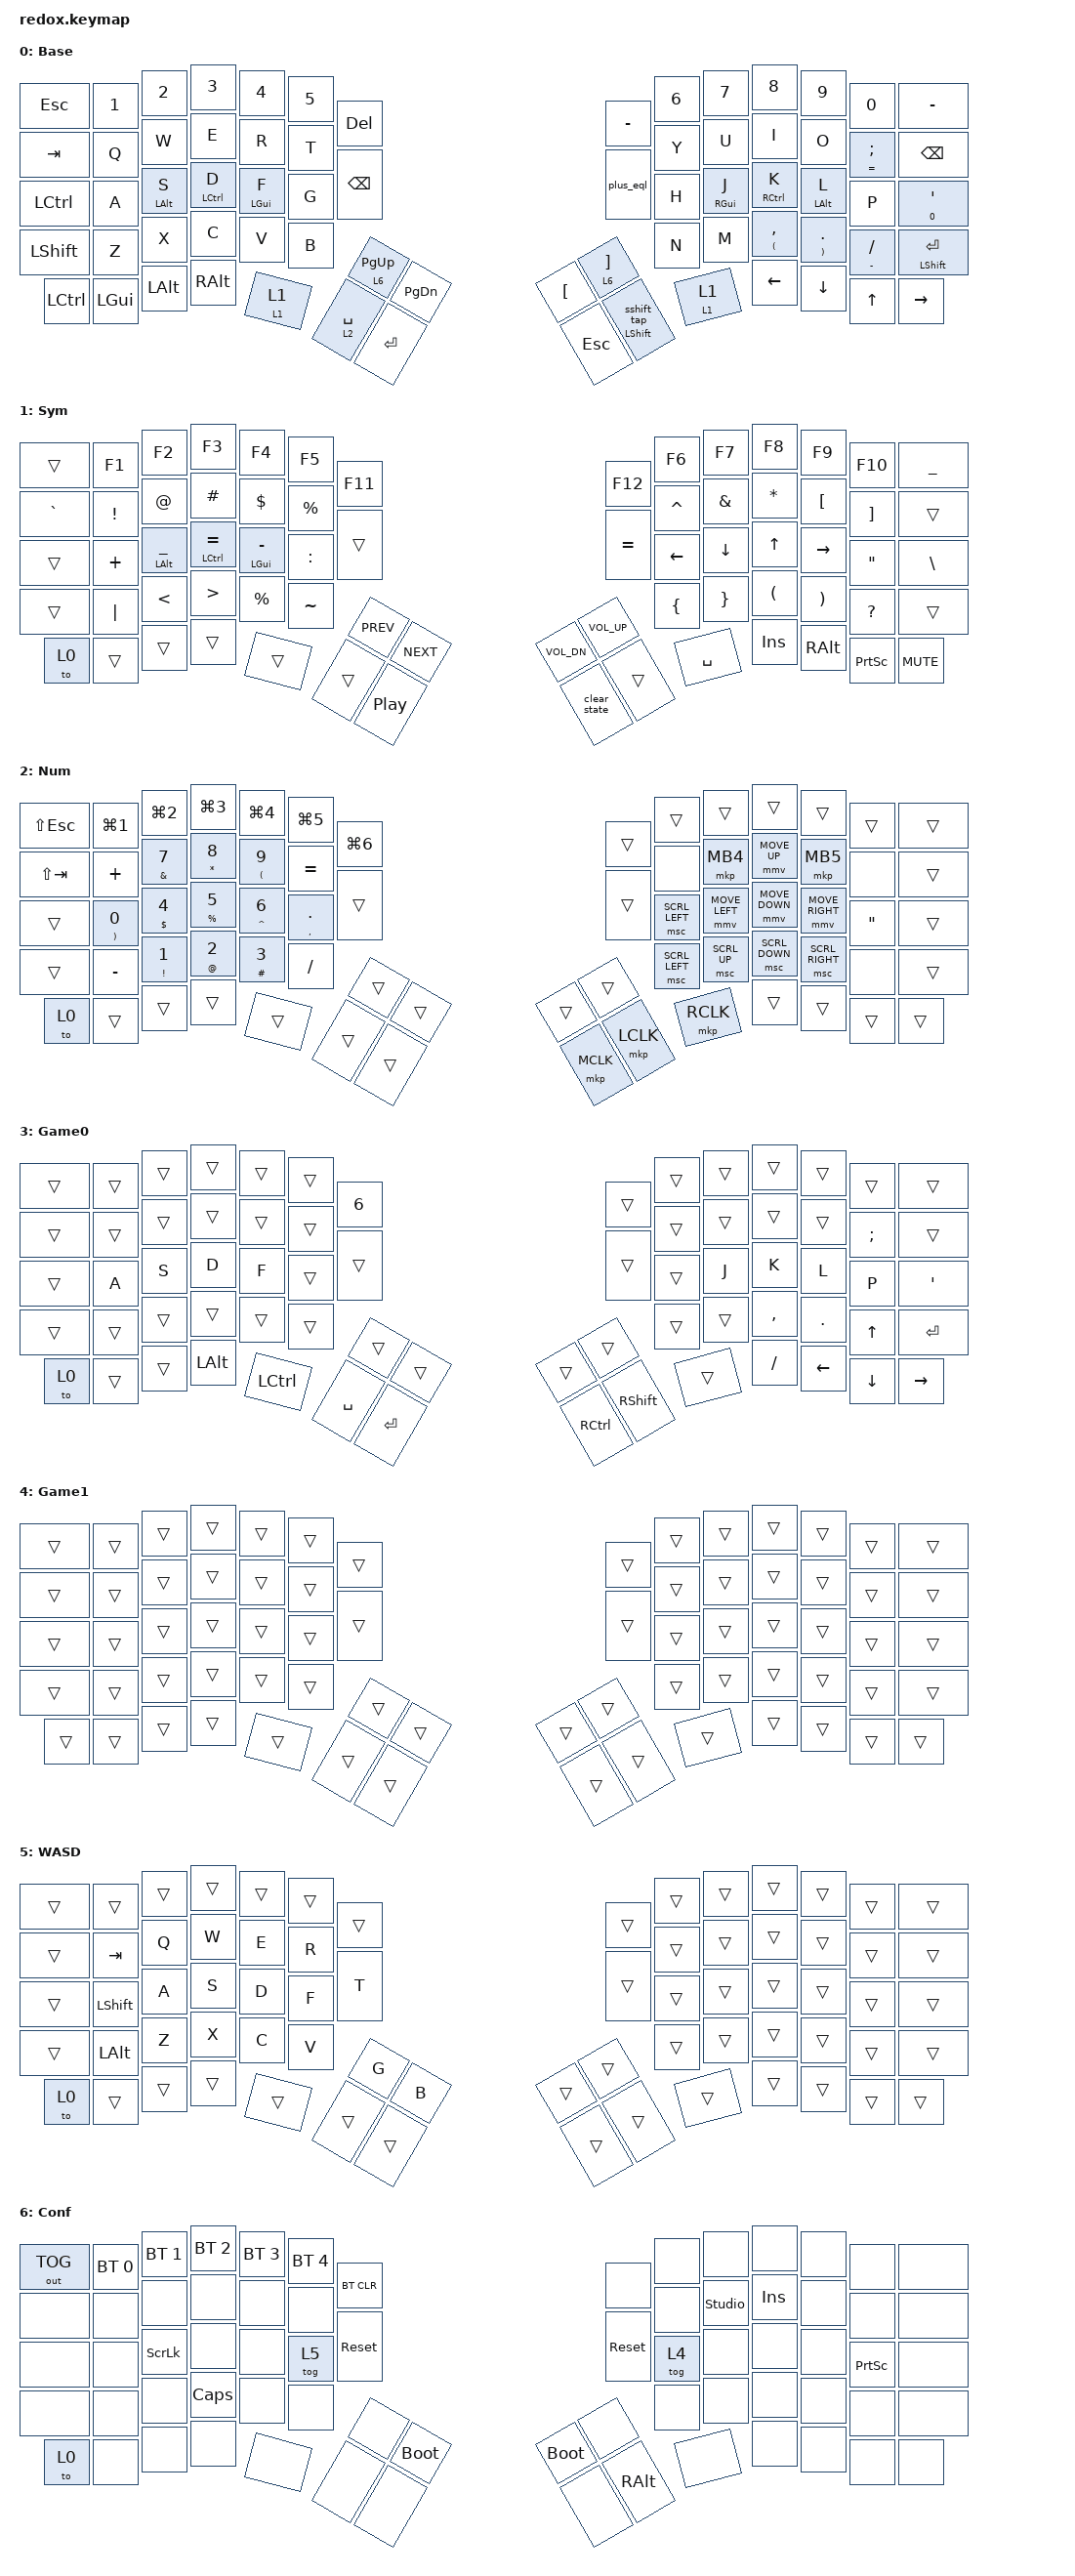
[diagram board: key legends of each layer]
/*
 * Copyright (c) 2021 The ZMK Contributors
 *
 * SPDX-License-Identifier: MIT
 */

#define ZMK_POINTING_DEFAULT_SCRL_VAL 20

#include <behaviors.dtsi>
#include <dt-bindings/zmk/bt.h>
#include <dt-bindings/zmk/keys.h>
#include <dt-bindings/zmk/outputs.h>
#include <dt-bindings/zmk/pointing.h>

&sl { release-after-ms = <500>; };

/ {
    behaviors {
        htnr: htnr {
            compatible = "zmk,behavior-hold-tap";
            #binding-cells = <2>;
            flavor = "tap-preferred";
            tapping-term-ms = <200>;
            bindings = <&kpnr>, <&kp>;

            label = "hold tap no repeat";
        };

        hrml: hrml {
            compatible = "zmk,behavior-hold-tap";
            label = "home row mod left";
            bindings = <&kp>, <&kp>;

            #binding-cells = <2>;
            tapping-term-ms = <280>;
            quick-tap-ms = <220>;
            flavor = "balanced";
            hold-trigger-on-release;
        };

        hrmr: hrmr {
            compatible = "zmk,behavior-hold-tap";
            label = "home row mod right";
            bindings = <&kp>, <&kp>;

            #binding-cells = <2>;
            tapping-term-ms = <280>;
            quick-tap-ms = <220>;
            flavor = "balanced";
            hold-trigger-on-release;
        };

        skqr: skqr {
            compatible = "zmk,behavior-sticky-key";
            label = "sticky key quick-release";
            bindings = <&kp>;
            #binding-cells = <1>;
            release-after-ms = <500>;
            quick-release;
            ignore-modifiers;
        };

        htsk: htsk {
            compatible = "zmk,behavior-hold-tap";
            label = "Hold-tap sticky key";
            bindings = <&kp>, <&skqr>;

            #binding-cells = <2>;
            tapping-term-ms = <200>;
            flavor = "hold-preferred";
        };

        sshift_tap: sshift_tap {
            compatible = "zmk,behavior-mod-morph";
            label = "Smart shift tap";
            bindings = <&skqr LSHFT>, <&caps_word>;

            #binding-cells = <0>;
            mods = <(MOD_LSFT)>;
        };

        smart_shift: smart_shift {
            compatible = "zmk,behavior-hold-tap";
            label = "Smart shift";
            bindings = <&kp>, <&sshift_tap>;

            #binding-cells = <2>;
            tapping-term-ms = <200>;
            flavor = "hold-preferred";
        };

        ltqt: ltqt {
            compatible = "zmk,behavior-hold-tap";
            label = "Layer tap quick tap";
            bindings = <&mo>, <&kp>;

            #binding-cells = <2>;
            flavor = "balanced";
            quick-tap-ms = <250>;
            tapping-term-ms = <280>;
        };

        htsl: htsl {
            compatible = "zmk,behavior-hold-tap";
            label = "Hold tap sticky layer";
            bindings = <&mo>, <&sl>;

            #binding-cells = <2>;
            tapping-term-ms = <200>;
        };

        plus_eql: plus_eql {
            compatible = "zmk,behavior-mod-morph";
            label = "Plus shift equal";
            bindings = <&kp PLUS>, <&kp EQUAL>;

            #binding-cells = <0>;
            mods = <(MOD_LSFT|MOD_RSFT)>;
        };
    };

    macros {
        kpnr: macro_kpnr {
            compatible = "zmk,behavior-macro-one-param";
            #binding-cells = <1>;
            bindings = <&macro_param_1to1 &kp MACRO_PLACEHOLDER>;
            label = "kp no repeat";
        };

        clear_state: clear_state {
            compatible = "zmk,behavior-macro";
            #binding-cells = <0>;
            bindings = <&to 0 &kp F24>;
            label = "CLEAR_STATE";
        };
    };

    combos {
        compatible = "zmk,combos";

        combo_home {
            bindings = <&kp HOME>;
            key-positions = <42 43>;
            layers = <0>;
        };

        combo_end {
            bindings = <&kp END>;
            key-positions = <53 52>;
            layers = <0>;
        };
    };

    keymap {
        compatible = "zmk,keymap";

        base_layer {
            bindings = <
&kp ESC    &kp N1        &kp N2        &kp N3         &kp N4        &kp N5                                                              &kp N6  &kp N7        &kp N8            &kp N9          &kp N0                 &kp MINUS
&kp TAB    &kp Q         &kp W         &kp E          &kp R         &kp T   &kp DELETE                            &kp MINUS             &kp Y   &kp U         &kp I             &kp O           &htnr EQUAL SEMICOLON  &kp BSPC
&kp LCTRL  &kp A         &hrml LALT S  &hrml LCTRL D  &hrml LGUI F  &kp G   &kp BACKSPACE                         &plus_eql             &kp H   &hrmr RGUI J  &hrmr RCTRL K     &hrmr LALT L    &kp P                  &htnr N0 SQT
&kp LSHFT  &kp Z         &kp X         &kp C          &kp V         &kp B   &ltqt 6 PG_UP  &kp PG_DN    &kp LBKT  &ltqt 6 RBKT          &kp N   &kp M         &htnr LPAR COMMA  &htnr RPAR DOT  &htnr MINUS SLASH      &mt LSHFT RET
&kp LCTRL  &kp LEFT_GUI  &kp LEFT_ALT  &kp RALT       &htsl 1 1             &ltqt 2 SPACE  &kp RET      &kp ESC   &smart_shift LSHFT 0          &htsl 1 1     &kp LEFT          &kp DOWN        &kp UP                 &kp RIGHT
            >;

            label = "Base";
        };

        symbol_layer {
            bindings = <
&trans     &kp F1    &kp F2            &kp F3             &kp F4            &kp F5                                                           &kp F6          &kp F7     &kp F8      &kp F9     &kp F10    &kp UNDER
&kp GRAVE  &kp EXCL  &kp AT            &kp HASH           &kp DLLR          &kp PRCNT  &kp F11                                 &kp F12       &kp CARET       &kp AMPS   &kp STAR    &kp LBKT   &kp RBKT   &trans
&trans     &kp PLUS  &hrml LALT UNDER  &hrml LCTRL EQUAL  &hrml LGUI MINUS  &kp COLON  &trans                                  &kp EQUAL     &kp LEFT_ARROW  &kp DOWN   &kp UP      &kp RIGHT  &kp DQT    &kp BSLH
&trans     &kp PIPE  &kp LT            &kp GT             &kp PRCNT         &kp TILDE  &kp C_PREV  &kp C_NEXT    &kp C_VOL_DN  &kp C_VOL_UP  &kp LBRC        &kp RBRC   &kp LPAR    &kp RPAR   &kp QMARK  &trans
&to 0      &trans    &trans            &trans             &trans                       &trans      &kp C_PP      &clear_state  &trans                        &kp SPACE  &kp INSERT  &kp RALT   &kp PSCRN  &kp K_MUTE
            >;

            label = "Sym";
        };

        numpad_layer {
            label = "Num";
            bindings = <
&kp LS(ESC)  &kp LG(N1)     &kp LG(N2)       &kp LG(N3)        &kp LG(N4)      &kp LG(N5)                                                   &trans          &trans          &trans          &trans           &trans   &trans
&kp LS(TAB)  &kp PLUS       &htnr AMPS N7    &htnr ASTRK N8    &htnr LPAR N9   &kp EQUAL        &kp LG(N6)                       &trans     &none           &mkp MB4        &mmv MOVE_UP    &mkp MB5         &none    &trans
&trans       &htnr RPAR N0  &htnr DOLLAR N4  &htnr PERCENT N5  &htnr CARET N6  &htnr COMMA DOT  &trans                           &trans     &msc SCRL_LEFT  &mmv MOVE_LEFT  &mmv MOVE_DOWN  &mmv MOVE_RIGHT  &kp DQT  &trans
&trans       &kp MINUS      &htnr EXCL N1    &htnr AT N2       &htnr HASH N3   &kp FSLH         &trans      &trans    &trans     &trans     &msc SCRL_LEFT  &msc SCRL_UP    &msc SCRL_DOWN  &msc SCRL_RIGHT  &none    &trans
&to 0        &trans         &trans           &trans            &trans                           &trans      &trans    &mkp MCLK  &mkp LCLK                  &mkp RCLK       &trans          &trans           &trans   &trans
            >;
        };

        gaming_base_layer {
            bindings = <
&trans  &trans  &trans  &trans    &trans     &trans                                                &trans  &trans  &trans     &trans    &trans    &trans
&trans  &trans  &trans  &trans    &trans     &trans  &kp N6                             &trans     &trans  &trans  &trans     &trans    &kp SEMI  &trans
&trans  &kp A   &kp S   &kp D     &kp F      &trans  &trans                             &trans     &trans  &kp J   &kp K      &kp L     &kp P     &kp SQT
&trans  &trans  &trans  &trans    &trans     &trans  &trans     &trans       &trans     &trans     &trans  &trans  &kp COMMA  &kp DOT   &kp UP    &kp ENTER
&to 0   &trans  &trans  &kp LALT  &kp LCTRL          &kp SPACE  &kp ENTER    &kp RCTRL  &kp RSHFT          &trans  &kp SLASH  &kp LEFT  &kp DOWN  &kp RIGHT
            >;

            label = "Game0";
        };

        gaming_entry_layer {
            bindings = <
&trans  &trans  &trans  &trans  &trans  &trans                                    &trans  &trans  &trans  &trans  &trans  &trans
&trans  &trans  &trans  &trans  &trans  &trans  &trans                    &trans  &trans  &trans  &trans  &trans  &trans  &trans
&trans  &trans  &trans  &trans  &trans  &trans  &trans                    &trans  &trans  &trans  &trans  &trans  &trans  &trans
&trans  &trans  &trans  &trans  &trans  &trans  &trans  &trans    &trans  &trans  &trans  &trans  &trans  &trans  &trans  &trans
&trans  &trans  &trans  &trans  &trans          &trans  &trans    &trans  &trans          &trans  &trans  &trans  &trans  &trans
            >;

            label = "Game1";
        };

        gaming_wasd_layer {
            bindings = <
&trans  &trans     &trans  &trans  &trans  &trans                                    &trans  &trans  &trans  &trans  &trans  &trans
&trans  &kp TAB    &kp Q   &kp W   &kp E   &kp R   &trans                    &trans  &trans  &trans  &trans  &trans  &trans  &trans
&trans  &kp LSHFT  &kp A   &kp S   &kp D   &kp F   &kp T                     &trans  &trans  &trans  &trans  &trans  &trans  &trans
&trans  &kp LALT   &kp Z   &kp X   &kp C   &kp V   &kp G   &kp B     &trans  &trans  &trans  &trans  &trans  &trans  &trans  &trans
&to 0   &trans     &trans  &trans  &trans          &trans  &trans    &trans  &trans          &trans  &trans  &trans  &trans  &trans
            >;

            label = "WASD";
        };

        config_layer {
            bindings = <
&out OUT_TOG  &bt BT_SEL 0  &bt BT_SEL 1    &bt BT_SEL 2  &bt BT_SEL 3  &bt BT_SEL 4                                                      &none   &none           &none       &none  &none      &none
&none         &none         &none           &none         &none         &none         &bt BT_CLR                              &none       &none   &studio_unlock  &kp INSERT  &none  &none      &none
&none         &none         &kp SCROLLLOCK  &none         &none         &tog 5        &sys_reset                              &sys_reset  &tog 4  &none           &none       &none  &kp PSCRN  &none
&none         &none         &none           &kp CAPS      &none         &none         &none       &bootloader    &bootloader  &none       &none   &none           &none       &none  &none      &none
&to 0         &none         &none           &none         &none                       &none       &none          &none        &kp RALT            &none           &none       &none  &none      &none
            >;

            label = "Conf";
        };
    };

    conditional_layers {
        compatible = "zmk,conditional-layers";

        Game_Entry {
            if-layers = <4>;
            then-layer = <3>;
        };

        Game_WASD {
            if-layers = <5>;
            then-layer = <3>;
        };
    };
};
